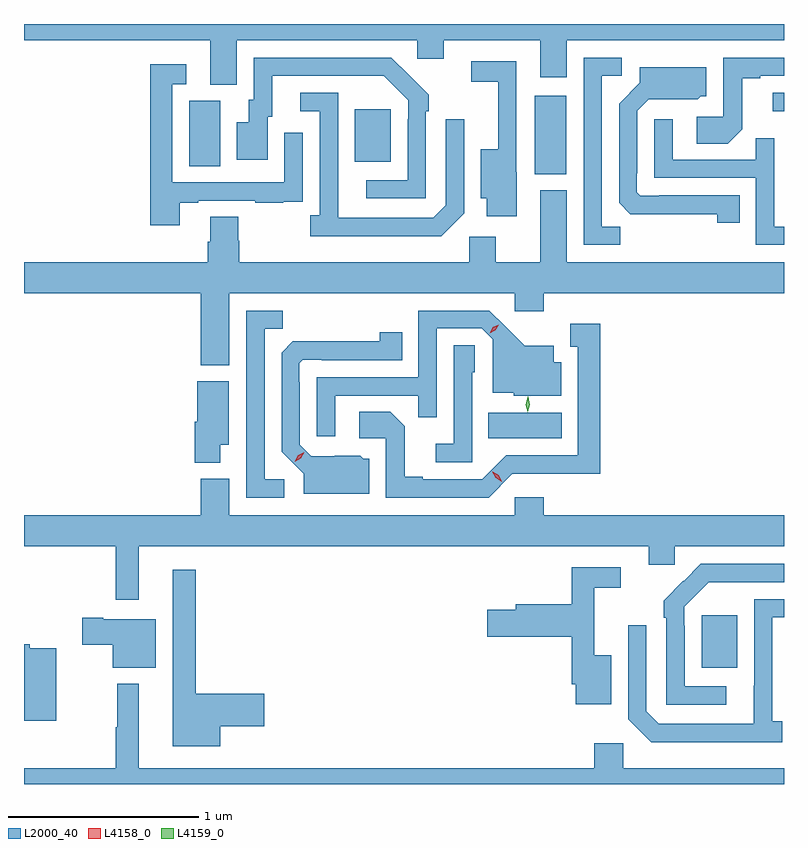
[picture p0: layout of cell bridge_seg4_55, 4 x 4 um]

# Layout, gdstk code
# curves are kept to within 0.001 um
import gdstk
lib = gdstk.Library(unit=1e-6, precision=1e-09)
def R(c, l, rs):  # rectangles x0, y0, x1, y1
    for r in rs: c.add(gdstk.rectangle(r[:2], r[2:], *l))
def P(c, l, *ps):  # polygons
    for p in ps: c.add(gdstk.Polygon(p, *l))
L2000_40 = (2000, 40)
L4158_0 = (4158, 0)
L4159_0 = (4159, 0)

bridge_seg4_55 = lib.new_cell('bridge_seg4_55')
R(bridge_seg4_55, L2000_40, [(650.867,797.513,651.055,797.788), (649.744,798.722,650.131,798.856), (649.988,800.111,650.155,800.524), (648.17,800.152,648.334,800.496), (649.043,800.177,649.231,800.452), (651.243,800.441,651.301,800.538)])
P(bridge_seg4_55, L2000_40, [(648.421,800.816),(649.371,800.816),(649.371,800.718),(649.51,800.718),(649.51,800.816),(650.018,800.816),(650.018,800.622),(650.158,800.622),(650.158,800.816),(651.301,800.816),(651.301,800.901),(647.301,800.901),(647.301,800.816),(648.281,800.816),(648.281,800.581),(648.421,800.581)],
  [(650.439,799.835),(650.343,799.835),(650.343,800.628),(650.446,800.628),(650.446,800.724),(650.247,800.724),(650.247,799.74),(650.439,799.74)],
  [(649.416,800.441),(649.431,800.441),(649.431,800.529),(649.234,800.724),(648.51,800.724),(648.51,800.502),(648.485,800.502),(648.485,800.383),(648.422,800.383),(648.422,800.187),(648.583,800.187),(648.583,800.412),(648.607,800.412),(648.607,800.628),(649.195,800.628),(649.323,800.499),(649.323,800.399),(649.32,800.399),(649.32,800.079),(649.101,800.079),(649.101,799.983),(649.416,799.983)],
  [(651.081,800.348),(651.081,800.616),(651.175,800.616),(651.175,800.628),(651.301,800.628),(651.301,800.724),(650.982,800.724),(650.982,800.412),(650.841,800.412),(650.841,800.272),(651.005,800.272)],
  [(649.894,800.121),(649.893,800.121),(649.893,800.706),(649.656,800.706),(649.656,800.598),(649.796,800.598),(649.796,800.242),(649.706,800.242),(649.706,799.985),(649.736,799.985),(649.736,799.89),(649.894,799.89)],
  [(648.121,799.959),(648.217,799.959),(648.217,799.971),(648.517,799.971),(648.517,799.959),(648.665,799.959),(648.665,799.965),(648.767,799.965),(648.767,800.074),(648.768,800.074),(648.768,800.329),(648.672,800.329),(648.672,800.067),(648.081,800.067),(648.081,800.583),(648.154,800.583),(648.154,800.689),(647.965,800.689),(647.965,799.842),(648.121,799.842)],
  [(651.068,800.001),(650.644,800.001),(650.644,799.998),(650.544,799.998),(650.526,800.016),(650.526,800.116),(650.529,800.116),(650.529,800.445),(650.589,800.505),(650.846,800.504),(650.862,800.52),(650.893,800.52),(650.893,800.674),(650.543,800.674),(650.543,800.592),(650.433,800.482),(650.433,799.96),(650.492,799.901),(650.95,799.9),(650.95,799.854),(651.068,799.854)],
  [(649.617,799.905),(649.617,800.401),(649.521,800.401),(649.521,799.947),(649.455,799.881),(648.955,799.881),(648.954,800.538),(648.756,800.538),(648.756,800.442),(648.858,800.442),(648.858,799.894),(648.807,799.894),(648.807,799.784),(649.496,799.784)],
  [(651.301,799.833),(651.249,799.833),(651.249,800.3),(651.151,800.3),(651.151,800.187),(650.715,800.187),(650.715,800.401),(650.619,800.401),(650.619,800.091),(651.153,800.091),(651.153,799.74),(651.301,799.74)],
  [(650.018,800.026),(650.018,799.648),(649.783,799.648),(649.783,799.78),(649.644,799.78),(649.644,799.648),(648.434,799.648),(648.434,799.761),(648.429,799.761),(648.429,799.886),(648.281,799.886),(648.281,799.754),(648.269,799.754),(648.269,799.648),(647.301,799.648),(647.301,799.484),(648.23,799.484),(648.23,799.106),(648.382,799.106),(648.382,799.484),(649.884,799.484),(649.884,799.389),(650.036,799.389),(650.036,799.484),(651.301,799.484),(651.301,799.648),(650.158,799.648),(650.158,800.026)],
  [(648.939,798.945),(649.375,798.945),(649.375,798.832),(649.473,798.832),(649.473,799.299),(649.71,799.299),(649.767,799.242),(649.767,798.959),(649.878,798.959),(649.878,798.944),(650.128,798.944),(650.128,799.12),(650.089,799.12),(650.089,799.207),(649.937,799.207),(649.75,799.392),(649.377,799.392),(649.377,799.041),(648.843,799.041),(648.843,798.732),(648.939,798.732)],
  [(648.67,798.504),(648.567,798.504),(648.567,799.297),(648.663,799.297),(648.663,799.392),(648.471,799.392),(648.471,798.408),(648.67,798.408)],
  [(649.872,798.534),(650.335,798.533),(650.335,799.324),(650.177,799.324),(650.177,799.203),(650.216,799.203),(650.216,798.63),(649.839,798.63),(649.713,798.504),(649.399,798.504),(649.399,798.517),(649.305,798.517),(649.305,798.784),(649.229,798.86),(649.065,798.86),(649.065,798.72),(649.206,798.72),(649.206,798.408),(649.746,798.408)],
  [(649.117,798.612),(649.086,798.612),(649.07,798.628),(648.813,798.627),(648.753,798.687),(648.753,799.016),(648.75,799.016),(648.75,799.116),(648.768,799.134),(648.868,799.134),(648.868,799.131),(649.292,799.131),(649.292,799.279),(649.174,799.279),(649.174,799.232),(648.716,799.231),(648.657,799.172),(648.657,798.65),(648.773,798.534),(648.773,798.428),(649.117,798.428)],
  [(649.659,799.068),(649.674,799.068),(649.674,799.211),(649.563,799.211),(649.563,798.691),(649.467,798.691),(649.467,798.594),(649.659,798.594)],
  [(648.334,798.686),(648.379,798.686),(648.379,799.021),(648.212,799.021),(648.212,798.807),(648.2,798.807),(648.2,798.593),(648.334,798.593)],
  [(647.905,798.152),(650.588,798.152),(650.588,798.054),(650.727,798.054),(650.727,798.152),(651.301,798.152),(651.301,798.316),(650.036,798.316),(650.036,798.409),(649.884,798.409),(649.884,798.316),(648.382,798.316),(648.382,798.508),(648.23,798.508),(648.23,798.316),(647.301,798.316),(647.301,798.152),(647.784,798.152),(647.784,797.871),(647.905,797.871)],
  [(650.998,797.415),(650.778,797.415),(650.778,797.735),(650.775,797.735),(650.775,797.835),(650.904,797.964),(651.301,797.964),(651.301,798.06),(650.864,798.06),(650.667,797.865),(650.667,797.777),(650.682,797.777),(650.682,797.319),(650.998,797.319)],
  [(650.392,797.578),(650.303,797.578),(650.303,797.934),(650.443,797.934),(650.443,798.042),(650.185,798.042),(650.185,797.847),(649.889,797.847),(649.889,797.817),(649.74,797.817),(649.74,797.675),(650.185,797.675),(650.185,797.425),(650.204,797.425),(650.204,797.321),(650.392,797.321)],
  [(648.334,797.204),(648.565,797.204),(648.565,797.375),(648.205,797.375),(648.205,798.028),(648.083,798.028),(648.083,797.099),(648.334,797.099)],
  [(651.292,797.23),(651.24,797.23),(651.24,797.778),(651.301,797.778),(651.301,797.874),(651.144,797.874),(651.143,797.217),(650.643,797.217),(650.577,797.283),(650.577,797.737),(650.481,797.737),(650.481,797.241),(650.602,797.12),(651.292,797.12)],
  [(647.995,797.767),(647.719,797.767),(647.719,797.775),(647.607,797.775),(647.607,797.633),(647.768,797.633),(647.768,797.513),(647.995,797.513)],
  [(647.472,797.616),(647.33,797.616),(647.33,797.636),(647.301,797.636),(647.301,797.235),(647.472,797.235)],
  [(651.301,796.984),(650.454,796.984),(650.454,797.116),(650.303,797.116),(650.303,796.984),(647.905,796.984),(647.905,797.428),(647.791,797.428),(647.791,797.201),(647.784,797.201),(647.784,796.984),(647.301,796.984),(647.301,796.901),(651.301,796.901)])
P(bridge_seg4_55, L4158_0, [(649.816,798.493),(649.784,798.512),(649.766,798.544),(649.766,798.544),(649.767,798.544),(649.799,798.526),(649.816,798.493),(649.816,798.493)],
  [(648.726,798.598),(648.726,798.598),(648.744,798.63),(648.776,798.648),(648.777,798.648),(648.777,798.648),(648.758,798.616),(648.727,798.598)],
  [(649.752,799.274),(649.752,799.274),(649.769,799.304),(649.799,799.319),(649.799,799.319),(649.799,799.319),(649.782,799.289),(649.752,799.274)])
P(bridge_seg4_55, L4159_0, [(649.952,798.858),(649.952,798.859),(649.943,798.898),(649.953,798.938),(649.953,798.938),(649.954,798.938),(649.963,798.898),(649.952,798.859)])

lib.write_gds('bridge_seg4_55.gds')
